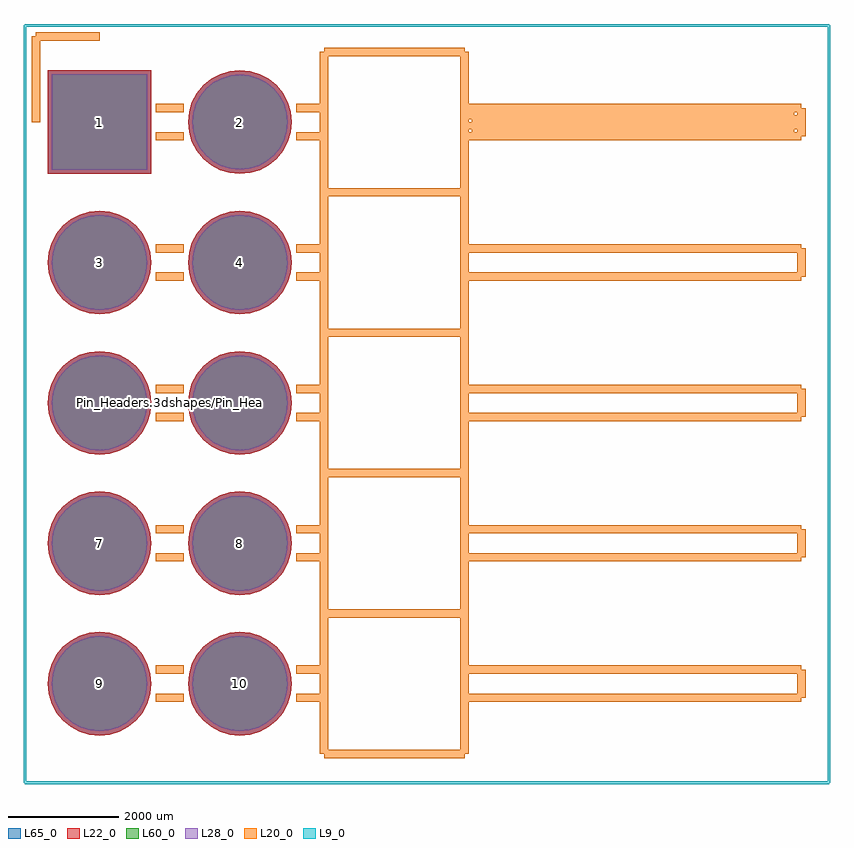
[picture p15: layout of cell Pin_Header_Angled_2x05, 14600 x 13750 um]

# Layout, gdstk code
import gdstk
lib = gdstk.Library(unit=1e-6, precision=1e-09)
def R(c, l, rs):  # rectangles x0, y0, x1, y1
    for r in rs: c.add(gdstk.rectangle(r[:2], r[2:], *l))
def P(c, l, *ps):  # polygons
    for p in ps: c.add(gdstk.Polygon(p, *l))
L9_0 = (9, 0)
L20_0 = (20, 0)
L22_0 = (22, 0)
L28_0 = (28, 0)
L60_0 = (60, 0)
L65_0 = (65, 0)

pin_header_angled_2x05 = lib.new_cell('Pin_Header_Angled_2x05')
R(pin_header_angled_2x05, L22_0, [(-938.6,-938.6,938.6,938.6)])
P(pin_header_angled_2x05, L22_0, [(3478.6,-10160),(3460.565,-9976.888),(3407.153,-9800.813),(3320.417,-9638.542),(3203.69,-9496.31),(3061.458,-9379.583),(2899.187,-9292.847),(2723.112,-9239.435),(2540,-9221.4),(2356.888,-9239.435),(2180.813,-9292.847),(2018.542,-9379.583),(1876.31,-9496.31),(1759.583,-9638.542),(1672.847,-9800.813),(1619.435,-9976.888),(1601.4,-10160),(1619.435,-10343.112),(1672.847,-10519.187),(1759.583,-10681.458),(1876.31,-10823.69),(2018.542,-10940.417),(2180.813,-11027.153),(2356.888,-11080.565),(2540,-11098.6),(2723.112,-11080.565),(2899.187,-11027.153),(3061.458,-10940.417),(3203.69,-10823.69),(3320.417,-10681.458),(3407.153,-10519.187),(3460.565,-10343.112)],
  [(938.6,-10160),(920.565,-9976.888),(867.153,-9800.813),(780.417,-9638.542),(663.69,-9496.31),(521.458,-9379.583),(359.187,-9292.847),(183.112,-9239.435),(0,-9221.4),(-183.112,-9239.435),(-359.187,-9292.847),(-521.458,-9379.583),(-663.69,-9496.31),(-780.417,-9638.542),(-867.153,-9800.813),(-920.565,-9976.888),(-938.6,-10160),(-920.565,-10343.112),(-867.153,-10519.187),(-780.417,-10681.458),(-663.69,-10823.69),(-521.458,-10940.417),(-359.187,-11027.153),(-183.112,-11080.565),(0,-11098.6),(183.112,-11080.565),(359.187,-11027.153),(521.458,-10940.417),(663.69,-10823.69),(780.417,-10681.458),(867.153,-10519.187),(920.565,-10343.112)],
  [(3478.6,-7620),(3460.565,-7436.888),(3407.153,-7260.813),(3320.417,-7098.542),(3203.69,-6956.31),(3061.458,-6839.583),(2899.187,-6752.847),(2723.112,-6699.435),(2540,-6681.4),(2356.888,-6699.435),(2180.813,-6752.847),(2018.542,-6839.583),(1876.31,-6956.31),(1759.583,-7098.542),(1672.847,-7260.813),(1619.435,-7436.888),(1601.4,-7620),(1619.435,-7803.112),(1672.847,-7979.187),(1759.583,-8141.458),(1876.31,-8283.69),(2018.542,-8400.417),(2180.813,-8487.153),(2356.888,-8540.565),(2540,-8558.6),(2723.112,-8540.565),(2899.187,-8487.153),(3061.458,-8400.417),(3203.69,-8283.69),(3320.417,-8141.458),(3407.153,-7979.187),(3460.565,-7803.112)],
  [(938.6,-7620),(920.565,-7436.888),(867.153,-7260.813),(780.417,-7098.542),(663.69,-6956.31),(521.458,-6839.583),(359.187,-6752.847),(183.112,-6699.435),(0,-6681.4),(-183.112,-6699.435),(-359.187,-6752.847),(-521.458,-6839.583),(-663.69,-6956.31),(-780.417,-7098.542),(-867.153,-7260.813),(-920.565,-7436.888),(-938.6,-7620),(-920.565,-7803.112),(-867.153,-7979.187),(-780.417,-8141.458),(-663.69,-8283.69),(-521.458,-8400.417),(-359.187,-8487.153),(-183.112,-8540.565),(0,-8558.6),(183.112,-8540.565),(359.187,-8487.153),(521.458,-8400.417),(663.69,-8283.69),(780.417,-8141.458),(867.153,-7979.187),(920.565,-7803.112)],
  [(3478.6,-5080),(3460.565,-4896.888),(3407.153,-4720.813),(3320.417,-4558.542),(3203.69,-4416.31),(3061.458,-4299.583),(2899.187,-4212.847),(2723.112,-4159.435),(2540,-4141.4),(2356.888,-4159.435),(2180.813,-4212.847),(2018.542,-4299.583),(1876.31,-4416.31),(1759.583,-4558.542),(1672.847,-4720.813),(1619.435,-4896.888),(1601.4,-5080),(1619.435,-5263.112),(1672.847,-5439.187),(1759.583,-5601.458),(1876.31,-5743.69),(2018.542,-5860.417),(2180.813,-5947.153),(2356.888,-6000.565),(2540,-6018.6),(2723.112,-6000.565),(2899.187,-5947.153),(3061.458,-5860.417),(3203.69,-5743.69),(3320.417,-5601.458),(3407.153,-5439.187),(3460.565,-5263.112)],
  [(938.6,-5080),(920.565,-4896.888),(867.153,-4720.813),(780.417,-4558.542),(663.69,-4416.31),(521.458,-4299.583),(359.187,-4212.847),(183.112,-4159.435),(0,-4141.4),(-183.112,-4159.435),(-359.187,-4212.847),(-521.458,-4299.583),(-663.69,-4416.31),(-780.417,-4558.542),(-867.153,-4720.813),(-920.565,-4896.888),(-938.6,-5080),(-920.565,-5263.112),(-867.153,-5439.187),(-780.417,-5601.458),(-663.69,-5743.69),(-521.458,-5860.417),(-359.187,-5947.153),(-183.112,-6000.565),(0,-6018.6),(183.112,-6000.565),(359.187,-5947.153),(521.458,-5860.417),(663.69,-5743.69),(780.417,-5601.458),(867.153,-5439.187),(920.565,-5263.112)],
  [(3478.6,-2540),(3460.565,-2356.888),(3407.153,-2180.813),(3320.417,-2018.542),(3203.69,-1876.31),(3061.458,-1759.583),(2899.187,-1672.847),(2723.112,-1619.435),(2540,-1601.4),(2356.888,-1619.435),(2180.813,-1672.847),(2018.542,-1759.583),(1876.31,-1876.31),(1759.583,-2018.542),(1672.847,-2180.813),(1619.435,-2356.888),(1601.4,-2540),(1619.435,-2723.112),(1672.847,-2899.187),(1759.583,-3061.458),(1876.31,-3203.69),(2018.542,-3320.417),(2180.813,-3407.153),(2356.888,-3460.565),(2540,-3478.6),(2723.112,-3460.565),(2899.187,-3407.153),(3061.458,-3320.417),(3203.69,-3203.69),(3320.417,-3061.458),(3407.153,-2899.187),(3460.565,-2723.112)],
  [(938.6,-2540),(920.565,-2356.888),(867.153,-2180.813),(780.417,-2018.542),(663.69,-1876.31),(521.458,-1759.583),(359.187,-1672.847),(183.112,-1619.435),(0,-1601.4),(-183.112,-1619.435),(-359.187,-1672.847),(-521.458,-1759.583),(-663.69,-1876.31),(-780.417,-2018.542),(-867.153,-2180.813),(-920.565,-2356.888),(-938.6,-2540),(-920.565,-2723.112),(-867.153,-2899.187),(-780.417,-3061.458),(-663.69,-3203.69),(-521.458,-3320.417),(-359.187,-3407.153),(-183.112,-3460.565),(0,-3478.6),(183.112,-3460.565),(359.187,-3407.153),(521.458,-3320.417),(663.69,-3203.69),(780.417,-3061.458),(867.153,-2899.187),(920.565,-2723.112)],
  [(3478.6,0),(3460.565,183.112),(3407.153,359.187),(3320.417,521.458),(3203.69,663.69),(3061.458,780.417),(2899.187,867.153),(2723.112,920.565),(2540,938.6),(2356.888,920.565),(2180.813,867.153),(2018.542,780.417),(1876.31,663.69),(1759.583,521.458),(1672.847,359.187),(1619.435,183.112),(1601.4,0),(1619.435,-183.112),(1672.847,-359.187),(1759.583,-521.458),(1876.31,-663.69),(2018.542,-780.417),(2180.813,-867.153),(2356.888,-920.565),(2540,-938.6),(2723.112,-920.565),(2899.187,-867.153),(3061.458,-780.417),(3203.69,-663.69),(3320.417,-521.458),(3407.153,-359.187),(3460.565,-183.112)])
R(pin_header_angled_2x05, L28_0, [(-863.6,-863.6,863.6,863.6)])
P(pin_header_angled_2x05, L28_0, [(3403.6,-10160),(3387.006,-9991.52),(3337.862,-9829.515),(3258.057,-9680.21),(3150.657,-9549.343),(3019.79,-9441.943),(2870.485,-9362.138),(2708.48,-9312.994),(2540,-9296.4),(2371.52,-9312.994),(2209.515,-9362.138),(2060.21,-9441.943),(1929.343,-9549.343),(1821.943,-9680.21),(1742.138,-9829.515),(1692.994,-9991.52),(1676.4,-10160),(1692.994,-10328.48),(1742.138,-10490.485),(1821.943,-10639.79),(1929.343,-10770.657),(2060.21,-10878.057),(2209.515,-10957.862),(2371.52,-11007.006),(2540,-11023.6),(2708.48,-11007.006),(2870.485,-10957.862),(3019.79,-10878.057),(3150.657,-10770.657),(3258.057,-10639.79),(3337.862,-10490.485),(3387.006,-10328.48)],
  [(863.6,-10160),(847.006,-9991.52),(797.862,-9829.515),(718.057,-9680.21),(610.657,-9549.343),(479.79,-9441.943),(330.485,-9362.138),(168.48,-9312.994),(0,-9296.4),(-168.48,-9312.994),(-330.485,-9362.138),(-479.79,-9441.943),(-610.657,-9549.343),(-718.057,-9680.21),(-797.862,-9829.515),(-847.006,-9991.52),(-863.6,-10160),(-847.006,-10328.48),(-797.862,-10490.485),(-718.057,-10639.79),(-610.657,-10770.657),(-479.79,-10878.057),(-330.485,-10957.862),(-168.48,-11007.006),(0,-11023.6),(168.48,-11007.006),(330.485,-10957.862),(479.79,-10878.057),(610.657,-10770.657),(718.057,-10639.79),(797.862,-10490.485),(847.006,-10328.48)],
  [(3403.6,-7620),(3387.006,-7451.52),(3337.862,-7289.515),(3258.057,-7140.21),(3150.657,-7009.343),(3019.79,-6901.943),(2870.485,-6822.138),(2708.48,-6772.994),(2540,-6756.4),(2371.52,-6772.994),(2209.515,-6822.138),(2060.21,-6901.943),(1929.343,-7009.343),(1821.943,-7140.21),(1742.138,-7289.515),(1692.994,-7451.52),(1676.4,-7620),(1692.994,-7788.48),(1742.138,-7950.485),(1821.943,-8099.79),(1929.343,-8230.657),(2060.21,-8338.057),(2209.515,-8417.862),(2371.52,-8467.006),(2540,-8483.6),(2708.48,-8467.006),(2870.485,-8417.862),(3019.79,-8338.057),(3150.657,-8230.657),(3258.057,-8099.79),(3337.862,-7950.485),(3387.006,-7788.48)],
  [(863.6,-7620),(847.006,-7451.52),(797.862,-7289.515),(718.057,-7140.21),(610.657,-7009.343),(479.79,-6901.943),(330.485,-6822.138),(168.48,-6772.994),(0,-6756.4),(-168.48,-6772.994),(-330.485,-6822.138),(-479.79,-6901.943),(-610.657,-7009.343),(-718.057,-7140.21),(-797.862,-7289.515),(-847.006,-7451.52),(-863.6,-7620),(-847.006,-7788.48),(-797.862,-7950.485),(-718.057,-8099.79),(-610.657,-8230.657),(-479.79,-8338.057),(-330.485,-8417.862),(-168.48,-8467.006),(0,-8483.6),(168.48,-8467.006),(330.485,-8417.862),(479.79,-8338.057),(610.657,-8230.657),(718.057,-8099.79),(797.862,-7950.485),(847.006,-7788.48)],
  [(3403.6,-5080),(3387.006,-4911.52),(3337.862,-4749.515),(3258.057,-4600.21),(3150.657,-4469.343),(3019.79,-4361.943),(2870.485,-4282.138),(2708.48,-4232.994),(2540,-4216.4),(2371.52,-4232.994),(2209.515,-4282.138),(2060.21,-4361.943),(1929.343,-4469.343),(1821.943,-4600.21),(1742.138,-4749.515),(1692.994,-4911.52),(1676.4,-5080),(1692.994,-5248.48),(1742.138,-5410.485),(1821.943,-5559.79),(1929.343,-5690.657),(2060.21,-5798.057),(2209.515,-5877.862),(2371.52,-5927.006),(2540,-5943.6),(2708.48,-5927.006),(2870.485,-5877.862),(3019.79,-5798.057),(3150.657,-5690.657),(3258.057,-5559.79),(3337.862,-5410.485),(3387.006,-5248.48)],
  [(863.6,-5080),(847.006,-4911.52),(797.862,-4749.515),(718.057,-4600.21),(610.657,-4469.343),(479.79,-4361.943),(330.485,-4282.138),(168.48,-4232.994),(0,-4216.4),(-168.48,-4232.994),(-330.485,-4282.138),(-479.79,-4361.943),(-610.657,-4469.343),(-718.057,-4600.21),(-797.862,-4749.515),(-847.006,-4911.52),(-863.6,-5080),(-847.006,-5248.48),(-797.862,-5410.485),(-718.057,-5559.79),(-610.657,-5690.657),(-479.79,-5798.057),(-330.485,-5877.862),(-168.48,-5927.006),(0,-5943.6),(168.48,-5927.006),(330.485,-5877.862),(479.79,-5798.057),(610.657,-5690.657),(718.057,-5559.79),(797.862,-5410.485),(847.006,-5248.48)],
  [(3403.6,-2540),(3387.006,-2371.52),(3337.862,-2209.515),(3258.057,-2060.21),(3150.657,-1929.343),(3019.79,-1821.943),(2870.485,-1742.138),(2708.48,-1692.994),(2540,-1676.4),(2371.52,-1692.994),(2209.515,-1742.138),(2060.21,-1821.943),(1929.343,-1929.343),(1821.943,-2060.21),(1742.138,-2209.515),(1692.994,-2371.52),(1676.4,-2540),(1692.994,-2708.48),(1742.138,-2870.485),(1821.943,-3019.79),(1929.343,-3150.657),(2060.21,-3258.057),(2209.515,-3337.862),(2371.52,-3387.006),(2540,-3403.6),(2708.48,-3387.006),(2870.485,-3337.862),(3019.79,-3258.057),(3150.657,-3150.657),(3258.057,-3019.79),(3337.862,-2870.485),(3387.006,-2708.48)],
  [(863.6,-2540),(847.006,-2371.52),(797.862,-2209.515),(718.057,-2060.21),(610.657,-1929.343),(479.79,-1821.943),(330.485,-1742.138),(168.48,-1692.994),(0,-1676.4),(-168.48,-1692.994),(-330.485,-1742.138),(-479.79,-1821.943),(-610.657,-1929.343),(-718.057,-2060.21),(-797.862,-2209.515),(-847.006,-2371.52),(-863.6,-2540),(-847.006,-2708.48),(-797.862,-2870.485),(-718.057,-3019.79),(-610.657,-3150.657),(-479.79,-3258.057),(-330.485,-3337.862),(-168.48,-3387.006),(0,-3403.6),(168.48,-3387.006),(330.485,-3337.862),(479.79,-3258.057),(610.657,-3150.657),(718.057,-3019.79),(797.862,-2870.485),(847.006,-2708.48)],
  [(3403.6,0),(3387.006,168.48),(3337.862,330.485),(3258.057,479.79),(3150.657,610.657),(3019.79,718.057),(2870.485,797.862),(2708.48,847.006),(2540,863.6),(2371.52,847.006),(2209.515,797.862),(2060.21,718.057),(1929.343,610.657),(1821.943,479.79),(1742.138,330.485),(1692.994,168.48),(1676.4,0),(1692.994,-168.48),(1742.138,-330.485),(1821.943,-479.79),(1929.343,-610.657),(2060.21,-718.057),(2209.515,-797.862),(2371.52,-847.006),(2540,-863.6),(2708.48,-847.006),(2870.485,-797.862),(3019.79,-718.057),(3150.657,-610.657),(3258.057,-479.79),(3337.862,-330.485),(3387.006,-168.48)])
R(pin_header_angled_2x05, L60_0, [(-863.6,-863.6,863.6,863.6)])
P(pin_header_angled_2x05, L60_0, [(3403.6,-10160),(3387.006,-9991.52),(3337.862,-9829.515),(3258.057,-9680.21),(3150.657,-9549.343),(3019.79,-9441.943),(2870.485,-9362.138),(2708.48,-9312.994),(2540,-9296.4),(2371.52,-9312.994),(2209.515,-9362.138),(2060.21,-9441.943),(1929.343,-9549.343),(1821.943,-9680.21),(1742.138,-9829.515),(1692.994,-9991.52),(1676.4,-10160),(1692.994,-10328.48),(1742.138,-10490.485),(1821.943,-10639.79),(1929.343,-10770.657),(2060.21,-10878.057),(2209.515,-10957.862),(2371.52,-11007.006),(2540,-11023.6),(2708.48,-11007.006),(2870.485,-10957.862),(3019.79,-10878.057),(3150.657,-10770.657),(3258.057,-10639.79),(3337.862,-10490.485),(3387.006,-10328.48)],
  [(863.6,-10160),(847.006,-9991.52),(797.862,-9829.515),(718.057,-9680.21),(610.657,-9549.343),(479.79,-9441.943),(330.485,-9362.138),(168.48,-9312.994),(0,-9296.4),(-168.48,-9312.994),(-330.485,-9362.138),(-479.79,-9441.943),(-610.657,-9549.343),(-718.057,-9680.21),(-797.862,-9829.515),(-847.006,-9991.52),(-863.6,-10160),(-847.006,-10328.48),(-797.862,-10490.485),(-718.057,-10639.79),(-610.657,-10770.657),(-479.79,-10878.057),(-330.485,-10957.862),(-168.48,-11007.006),(0,-11023.6),(168.48,-11007.006),(330.485,-10957.862),(479.79,-10878.057),(610.657,-10770.657),(718.057,-10639.79),(797.862,-10490.485),(847.006,-10328.48)],
  [(3403.6,-7620),(3387.006,-7451.52),(3337.862,-7289.515),(3258.057,-7140.21),(3150.657,-7009.343),(3019.79,-6901.943),(2870.485,-6822.138),(2708.48,-6772.994),(2540,-6756.4),(2371.52,-6772.994),(2209.515,-6822.138),(2060.21,-6901.943),(1929.343,-7009.343),(1821.943,-7140.21),(1742.138,-7289.515),(1692.994,-7451.52),(1676.4,-7620),(1692.994,-7788.48),(1742.138,-7950.485),(1821.943,-8099.79),(1929.343,-8230.657),(2060.21,-8338.057),(2209.515,-8417.862),(2371.52,-8467.006),(2540,-8483.6),(2708.48,-8467.006),(2870.485,-8417.862),(3019.79,-8338.057),(3150.657,-8230.657),(3258.057,-8099.79),(3337.862,-7950.485),(3387.006,-7788.48)],
  [(863.6,-7620),(847.006,-7451.52),(797.862,-7289.515),(718.057,-7140.21),(610.657,-7009.343),(479.79,-6901.943),(330.485,-6822.138),(168.48,-6772.994),(0,-6756.4),(-168.48,-6772.994),(-330.485,-6822.138),(-479.79,-6901.943),(-610.657,-7009.343),(-718.057,-7140.21),(-797.862,-7289.515),(-847.006,-7451.52),(-863.6,-7620),(-847.006,-7788.48),(-797.862,-7950.485),(-718.057,-8099.79),(-610.657,-8230.657),(-479.79,-8338.057),(-330.485,-8417.862),(-168.48,-8467.006),(0,-8483.6),(168.48,-8467.006),(330.485,-8417.862),(479.79,-8338.057),(610.657,-8230.657),(718.057,-8099.79),(797.862,-7950.485),(847.006,-7788.48)],
  [(3403.6,-5080),(3387.006,-4911.52),(3337.862,-4749.515),(3258.057,-4600.21),(3150.657,-4469.343),(3019.79,-4361.943),(2870.485,-4282.138),(2708.48,-4232.994),(2540,-4216.4),(2371.52,-4232.994),(2209.515,-4282.138),(2060.21,-4361.943),(1929.343,-4469.343),(1821.943,-4600.21),(1742.138,-4749.515),(1692.994,-4911.52),(1676.4,-5080),(1692.994,-5248.48),(1742.138,-5410.485),(1821.943,-5559.79),(1929.343,-5690.657),(2060.21,-5798.057),(2209.515,-5877.862),(2371.52,-5927.006),(2540,-5943.6),(2708.48,-5927.006),(2870.485,-5877.862),(3019.79,-5798.057),(3150.657,-5690.657),(3258.057,-5559.79),(3337.862,-5410.485),(3387.006,-5248.48)],
  [(863.6,-5080),(847.006,-4911.52),(797.862,-4749.515),(718.057,-4600.21),(610.657,-4469.343),(479.79,-4361.943),(330.485,-4282.138),(168.48,-4232.994),(0,-4216.4),(-168.48,-4232.994),(-330.485,-4282.138),(-479.79,-4361.943),(-610.657,-4469.343),(-718.057,-4600.21),(-797.862,-4749.515),(-847.006,-4911.52),(-863.6,-5080),(-847.006,-5248.48),(-797.862,-5410.485),(-718.057,-5559.79),(-610.657,-5690.657),(-479.79,-5798.057),(-330.485,-5877.862),(-168.48,-5927.006),(0,-5943.6),(168.48,-5927.006),(330.485,-5877.862),(479.79,-5798.057),(610.657,-5690.657),(718.057,-5559.79),(797.862,-5410.485),(847.006,-5248.48)],
  [(3403.6,-2540),(3387.006,-2371.52),(3337.862,-2209.515),(3258.057,-2060.21),(3150.657,-1929.343),(3019.79,-1821.943),(2870.485,-1742.138),(2708.48,-1692.994),(2540,-1676.4),(2371.52,-1692.994),(2209.515,-1742.138),(2060.21,-1821.943),(1929.343,-1929.343),(1821.943,-2060.21),(1742.138,-2209.515),(1692.994,-2371.52),(1676.4,-2540),(1692.994,-2708.48),(1742.138,-2870.485),(1821.943,-3019.79),(1929.343,-3150.657),(2060.21,-3258.057),(2209.515,-3337.862),(2371.52,-3387.006),(2540,-3403.6),(2708.48,-3387.006),(2870.485,-3337.862),(3019.79,-3258.057),(3150.657,-3150.657),(3258.057,-3019.79),(3337.862,-2870.485),(3387.006,-2708.48)],
  [(863.6,-2540),(847.006,-2371.52),(797.862,-2209.515),(718.057,-2060.21),(610.657,-1929.343),(479.79,-1821.943),(330.485,-1742.138),(168.48,-1692.994),(0,-1676.4),(-168.48,-1692.994),(-330.485,-1742.138),(-479.79,-1821.943),(-610.657,-1929.343),(-718.057,-2060.21),(-797.862,-2209.515),(-847.006,-2371.52),(-863.6,-2540),(-847.006,-2708.48),(-797.862,-2870.485),(-718.057,-3019.79),(-610.657,-3150.657),(-479.79,-3258.057),(-330.485,-3337.862),(-168.48,-3387.006),(0,-3403.6),(168.48,-3387.006),(330.485,-3337.862),(479.79,-3258.057),(610.657,-3150.657),(718.057,-3019.79),(797.862,-2870.485),(847.006,-2708.48)],
  [(3403.6,0),(3387.006,168.48),(3337.862,330.485),(3258.057,479.79),(3150.657,610.657),(3019.79,718.057),(2870.485,797.862),(2708.48,847.006),(2540,863.6),(2371.52,847.006),(2209.515,797.862),(2060.21,718.057),(1929.343,610.657),(1821.943,479.79),(1742.138,330.485),(1692.994,168.48),(1676.4,0),(1692.994,-168.48),(1742.138,-330.485),(1821.943,-479.79),(1929.343,-610.657),(2060.21,-718.057),(2209.515,-797.862),(2371.52,-847.006),(2540,-863.6),(2708.48,-847.006),(2870.485,-797.862),(3019.79,-718.057),(3150.657,-610.657),(3258.057,-479.79),(3337.862,-330.485),(3387.006,-168.48)])
R(pin_header_angled_2x05, L65_0, [(-938.6,-938.6,938.6,938.6)])
P(pin_header_angled_2x05, L65_0, [(3478.6,-10160),(3460.565,-9976.888),(3407.153,-9800.813),(3320.417,-9638.542),(3203.69,-9496.31),(3061.458,-9379.583),(2899.187,-9292.847),(2723.112,-9239.435),(2540,-9221.4),(2356.888,-9239.435),(2180.813,-9292.847),(2018.542,-9379.583),(1876.31,-9496.31),(1759.583,-9638.542),(1672.847,-9800.813),(1619.435,-9976.888),(1601.4,-10160),(1619.435,-10343.112),(1672.847,-10519.187),(1759.583,-10681.458),(1876.31,-10823.69),(2018.542,-10940.417),(2180.813,-11027.153),(2356.888,-11080.565),(2540,-11098.6),(2723.112,-11080.565),(2899.187,-11027.153),(3061.458,-10940.417),(3203.69,-10823.69),(3320.417,-10681.458),(3407.153,-10519.187),(3460.565,-10343.112)],
  [(938.6,-10160),(920.565,-9976.888),(867.153,-9800.813),(780.417,-9638.542),(663.69,-9496.31),(521.458,-9379.583),(359.187,-9292.847),(183.112,-9239.435),(0,-9221.4),(-183.112,-9239.435),(-359.187,-9292.847),(-521.458,-9379.583),(-663.69,-9496.31),(-780.417,-9638.542),(-867.153,-9800.813),(-920.565,-9976.888),(-938.6,-10160),(-920.565,-10343.112),(-867.153,-10519.187),(-780.417,-10681.458),(-663.69,-10823.69),(-521.458,-10940.417),(-359.187,-11027.153),(-183.112,-11080.565),(0,-11098.6),(183.112,-11080.565),(359.187,-11027.153),(521.458,-10940.417),(663.69,-10823.69),(780.417,-10681.458),(867.153,-10519.187),(920.565,-10343.112)],
  [(3478.6,-7620),(3460.565,-7436.888),(3407.153,-7260.813),(3320.417,-7098.542),(3203.69,-6956.31),(3061.458,-6839.583),(2899.187,-6752.847),(2723.112,-6699.435),(2540,-6681.4),(2356.888,-6699.435),(2180.813,-6752.847),(2018.542,-6839.583),(1876.31,-6956.31),(1759.583,-7098.542),(1672.847,-7260.813),(1619.435,-7436.888),(1601.4,-7620),(1619.435,-7803.112),(1672.847,-7979.187),(1759.583,-8141.458),(1876.31,-8283.69),(2018.542,-8400.417),(2180.813,-8487.153),(2356.888,-8540.565),(2540,-8558.6),(2723.112,-8540.565),(2899.187,-8487.153),(3061.458,-8400.417),(3203.69,-8283.69),(3320.417,-8141.458),(3407.153,-7979.187),(3460.565,-7803.112)],
  [(938.6,-7620),(920.565,-7436.888),(867.153,-7260.813),(780.417,-7098.542),(663.69,-6956.31),(521.458,-6839.583),(359.187,-6752.847),(183.112,-6699.435),(0,-6681.4),(-183.112,-6699.435),(-359.187,-6752.847),(-521.458,-6839.583),(-663.69,-6956.31),(-780.417,-7098.542),(-867.153,-7260.813),(-920.565,-7436.888),(-938.6,-7620),(-920.565,-7803.112),(-867.153,-7979.187),(-780.417,-8141.458),(-663.69,-8283.69),(-521.458,-8400.417),(-359.187,-8487.153),(-183.112,-8540.565),(0,-8558.6),(183.112,-8540.565),(359.187,-8487.153),(521.458,-8400.417),(663.69,-8283.69),(780.417,-8141.458),(867.153,-7979.187),(920.565,-7803.112)],
  [(3478.6,-5080),(3460.565,-4896.888),(3407.153,-4720.813),(3320.417,-4558.542),(3203.69,-4416.31),(3061.458,-4299.583),(2899.187,-4212.847),(2723.112,-4159.435),(2540,-4141.4),(2356.888,-4159.435),(2180.813,-4212.847),(2018.542,-4299.583),(1876.31,-4416.31),(1759.583,-4558.542),(1672.847,-4720.813),(1619.435,-4896.888),(1601.4,-5080),(1619.435,-5263.112),(1672.847,-5439.187),(1759.583,-5601.458),(1876.31,-5743.69),(2018.542,-5860.417),(2180.813,-5947.153),(2356.888,-6000.565),(2540,-6018.6),(2723.112,-6000.565),(2899.187,-5947.153),(3061.458,-5860.417),(3203.69,-5743.69),(3320.417,-5601.458),(3407.153,-5439.187),(3460.565,-5263.112)],
  [(938.6,-5080),(920.565,-4896.888),(867.153,-4720.813),(780.417,-4558.542),(663.69,-4416.31),(521.458,-4299.583),(359.187,-4212.847),(183.112,-4159.435),(0,-4141.4),(-183.112,-4159.435),(-359.187,-4212.847),(-521.458,-4299.583),(-663.69,-4416.31),(-780.417,-4558.542),(-867.153,-4720.813),(-920.565,-4896.888),(-938.6,-5080),(-920.565,-5263.112),(-867.153,-5439.187),(-780.417,-5601.458),(-663.69,-5743.69),(-521.458,-5860.417),(-359.187,-5947.153),(-183.112,-6000.565),(0,-6018.6),(183.112,-6000.565),(359.187,-5947.153),(521.458,-5860.417),(663.69,-5743.69),(780.417,-5601.458),(867.153,-5439.187),(920.565,-5263.112)],
  [(3478.6,-2540),(3460.565,-2356.888),(3407.153,-2180.813),(3320.417,-2018.542),(3203.69,-1876.31),(3061.458,-1759.583),(2899.187,-1672.847),(2723.112,-1619.435),(2540,-1601.4),(2356.888,-1619.435),(2180.813,-1672.847),(2018.542,-1759.583),(1876.31,-1876.31),(1759.583,-2018.542),(1672.847,-2180.813),(1619.435,-2356.888),(1601.4,-2540),(1619.435,-2723.112),(1672.847,-2899.187),(1759.583,-3061.458),(1876.31,-3203.69),(2018.542,-3320.417),(2180.813,-3407.153),(2356.888,-3460.565),(2540,-3478.6),(2723.112,-3460.565),(2899.187,-3407.153),(3061.458,-3320.417),(3203.69,-3203.69),(3320.417,-3061.458),(3407.153,-2899.187),(3460.565,-2723.112)],
  [(938.6,-2540),(920.565,-2356.888),(867.153,-2180.813),(780.417,-2018.542),(663.69,-1876.31),(521.458,-1759.583),(359.187,-1672.847),(183.112,-1619.435),(0,-1601.4),(-183.112,-1619.435),(-359.187,-1672.847),(-521.458,-1759.583),(-663.69,-1876.31),(-780.417,-2018.542),(-867.153,-2180.813),(-920.565,-2356.888),(-938.6,-2540),(-920.565,-2723.112),(-867.153,-2899.187),(-780.417,-3061.458),(-663.69,-3203.69),(-521.458,-3320.417),(-359.187,-3407.153),(-183.112,-3460.565),(0,-3478.6),(183.112,-3460.565),(359.187,-3407.153),(521.458,-3320.417),(663.69,-3203.69),(780.417,-3061.458),(867.153,-2899.187),(920.565,-2723.112)],
  [(3478.6,0),(3460.565,183.112),(3407.153,359.187),(3320.417,521.458),(3203.69,663.69),(3061.458,780.417),(2899.187,867.153),(2723.112,920.565),(2540,938.6),(2356.888,920.565),(2180.813,867.153),(2018.542,780.417),(1876.31,663.69),(1759.583,521.458),(1672.847,359.187),(1619.435,183.112),(1601.4,0),(1619.435,-183.112),(1672.847,-359.187),(1759.583,-521.458),(1876.31,-663.69),(2018.542,-780.417),(2180.813,-867.153),(2356.888,-920.565),(2540,-938.6),(2723.112,-920.565),(2899.187,-867.153),(3061.458,-780.417),(3203.69,-663.69),(3320.417,-521.458),(3407.153,-359.187),(3460.565,-183.112)])
pin_header_angled_2x05.add(gdstk.FlexPath([(4064,1270),(6604,1270)], 149.998, ends="flush", simple_path=True, layer=20, datatype=0))  # L20_0
pin_header_angled_2x05.add(gdstk.FlexPath([(4064,1270),(4064,-1270)], 149.998, ends="flush", simple_path=True, layer=20, datatype=0))  # L20_0
pin_header_angled_2x05.add(gdstk.FlexPath([(4064,-1270),(6604,-1270)], 149.998, ends="flush", simple_path=True, layer=20, datatype=0))  # L20_0
pin_header_angled_2x05.add(gdstk.FlexPath([(6604,254),(12700,254)], 149.998, ends="flush", simple_path=True, layer=20, datatype=0))  # L20_0
pin_header_angled_2x05.add(gdstk.FlexPath([(12700,254),(12700,-254)], 149.998, ends="flush", simple_path=True, layer=20, datatype=0))  # L20_0
pin_header_angled_2x05.add(gdstk.FlexPath([(12700,-254),(6604,-254)], 149.998, ends="flush", simple_path=True, layer=20, datatype=0))  # L20_0
pin_header_angled_2x05.add(gdstk.FlexPath([(6604,-1270),(6604,1270)], 149.998, ends="flush", simple_path=True, layer=20, datatype=0))  # L20_0
pin_header_angled_2x05.add(gdstk.FlexPath([(6604,-3810),(6604,-1270)], 149.998, ends="flush", simple_path=True, layer=20, datatype=0))  # L20_0
pin_header_angled_2x05.add(gdstk.FlexPath([(12700,-2794),(6604,-2794)], 149.998, ends="flush", simple_path=True, layer=20, datatype=0))  # L20_0
pin_header_angled_2x05.add(gdstk.FlexPath([(12700,-2286),(12700,-2794)], 149.998, ends="flush", simple_path=True, layer=20, datatype=0))  # L20_0
pin_header_angled_2x05.add(gdstk.FlexPath([(6604,-2286),(12700,-2286)], 149.998, ends="flush", simple_path=True, layer=20, datatype=0))  # L20_0
pin_header_angled_2x05.add(gdstk.FlexPath([(4064,-3810),(6604,-3810)], 149.998, ends="flush", simple_path=True, layer=20, datatype=0))  # L20_0
pin_header_angled_2x05.add(gdstk.FlexPath([(4064,-1270),(4064,-3810)], 149.998, ends="flush", simple_path=True, layer=20, datatype=0))  # L20_0
pin_header_angled_2x05.add(gdstk.FlexPath([(4064,-1270),(6604,-1270)], 149.998, ends="flush", simple_path=True, layer=20, datatype=0))  # L20_0
pin_header_angled_2x05.add(gdstk.FlexPath([(4064,-6350),(6604,-6350)], 149.998, ends="flush", simple_path=True, layer=20, datatype=0))  # L20_0
pin_header_angled_2x05.add(gdstk.FlexPath([(4064,-6350),(4064,-8890)], 149.998, ends="flush", simple_path=True, layer=20, datatype=0))  # L20_0
pin_header_angled_2x05.add(gdstk.FlexPath([(4064,-8890),(6604,-8890)], 149.998, ends="flush", simple_path=True, layer=20, datatype=0))  # L20_0
pin_header_angled_2x05.add(gdstk.FlexPath([(6604,-7366),(12700,-7366)], 149.998, ends="flush", simple_path=True, layer=20, datatype=0))  # L20_0
pin_header_angled_2x05.add(gdstk.FlexPath([(12700,-7366),(12700,-7874)], 149.998, ends="flush", simple_path=True, layer=20, datatype=0))  # L20_0
pin_header_angled_2x05.add(gdstk.FlexPath([(12700,-7874),(6604,-7874)], 149.998, ends="flush", simple_path=True, layer=20, datatype=0))  # L20_0
pin_header_angled_2x05.add(gdstk.FlexPath([(6604,-8890),(6604,-6350)], 149.998, ends="flush", simple_path=True, layer=20, datatype=0))  # L20_0
pin_header_angled_2x05.add(gdstk.FlexPath([(6604,-6350),(6604,-3810)], 149.998, ends="flush", simple_path=True, layer=20, datatype=0))  # L20_0
pin_header_angled_2x05.add(gdstk.FlexPath([(12700,-5334),(6604,-5334)], 149.998, ends="flush", simple_path=True, layer=20, datatype=0))  # L20_0
pin_header_angled_2x05.add(gdstk.FlexPath([(12700,-4826),(12700,-5334)], 149.998, ends="flush", simple_path=True, layer=20, datatype=0))  # L20_0
pin_header_angled_2x05.add(gdstk.FlexPath([(6604,-4826),(12700,-4826)], 149.998, ends="flush", simple_path=True, layer=20, datatype=0))  # L20_0
pin_header_angled_2x05.add(gdstk.FlexPath([(4064,-6350),(6604,-6350)], 149.998, ends="flush", simple_path=True, layer=20, datatype=0))  # L20_0
pin_header_angled_2x05.add(gdstk.FlexPath([(4064,-3810),(4064,-6350)], 149.998, ends="flush", simple_path=True, layer=20, datatype=0))  # L20_0
pin_header_angled_2x05.add(gdstk.FlexPath([(4064,-3810),(6604,-3810)], 149.998, ends="flush", simple_path=True, layer=20, datatype=0))  # L20_0
pin_header_angled_2x05.add(gdstk.FlexPath([(4064,-11430),(6604,-11430)], 149.998, ends="flush", simple_path=True, layer=20, datatype=0))  # L20_0
pin_header_angled_2x05.add(gdstk.FlexPath([(6604,-11430),(6604,-8890)], 149.998, ends="flush", simple_path=True, layer=20, datatype=0))  # L20_0
pin_header_angled_2x05.add(gdstk.FlexPath([(12700,-10414),(6604,-10414)], 149.998, ends="flush", simple_path=True, layer=20, datatype=0))  # L20_0
pin_header_angled_2x05.add(gdstk.FlexPath([(12700,-9906),(12700,-10414)], 149.998, ends="flush", simple_path=True, layer=20, datatype=0))  # L20_0
pin_header_angled_2x05.add(gdstk.FlexPath([(6604,-9906),(12700,-9906)], 149.998, ends="flush", simple_path=True, layer=20, datatype=0))  # L20_0
pin_header_angled_2x05.add(gdstk.FlexPath([(4064,-8890),(4064,-11430)], 149.998, ends="flush", simple_path=True, layer=20, datatype=0))  # L20_0
pin_header_angled_2x05.add(gdstk.FlexPath([(4064,-8890),(6604,-8890)], 149.998, ends="flush", simple_path=True, layer=20, datatype=0))  # L20_0
pin_header_angled_2x05.add(gdstk.FlexPath([(6731,0),(12573,0)], 149.998, ends="flush", simple_path=True, layer=20, datatype=0))  # L20_0
pin_header_angled_2x05.add(gdstk.FlexPath([(6731,-127),(6731,0)], 149.998, ends="flush", simple_path=True, layer=20, datatype=0))  # L20_0
pin_header_angled_2x05.add(gdstk.FlexPath([(12573,-127),(6731,-127)], 149.998, ends="flush", simple_path=True, layer=20, datatype=0))  # L20_0
pin_header_angled_2x05.add(gdstk.FlexPath([(12573,127),(12573,-127)], 149.998, ends="flush", simple_path=True, layer=20, datatype=0))  # L20_0
pin_header_angled_2x05.add(gdstk.FlexPath([(6604,127),(12573,127)], 149.998, ends="flush", simple_path=True, layer=20, datatype=0))  # L20_0
pin_header_angled_2x05.add(gdstk.FlexPath([(-1150,1550),(-1150,0)], 149.998, ends="flush", simple_path=True, layer=20, datatype=0))  # L20_0
pin_header_angled_2x05.add(gdstk.FlexPath([(0,1550),(-1150,1550)], 149.998, ends="flush", simple_path=True, layer=20, datatype=0))  # L20_0
pin_header_angled_2x05.add(gdstk.FlexPath([(4064,-4826),(3556,-4826)], 149.998, ends="flush", simple_path=True, layer=20, datatype=0))  # L20_0
pin_header_angled_2x05.add(gdstk.FlexPath([(4064,-5334),(3556,-5334)], 149.998, ends="flush", simple_path=True, layer=20, datatype=0))  # L20_0
pin_header_angled_2x05.add(gdstk.FlexPath([(4064,-7366),(3556,-7366)], 149.998, ends="flush", simple_path=True, layer=20, datatype=0))  # L20_0
pin_header_angled_2x05.add(gdstk.FlexPath([(4064,-7874),(3556,-7874)], 149.998, ends="flush", simple_path=True, layer=20, datatype=0))  # L20_0
pin_header_angled_2x05.add(gdstk.FlexPath([(4064,-2794),(3556,-2794)], 149.998, ends="flush", simple_path=True, layer=20, datatype=0))  # L20_0
pin_header_angled_2x05.add(gdstk.FlexPath([(4064,-2286),(3556,-2286)], 149.998, ends="flush", simple_path=True, layer=20, datatype=0))  # L20_0
pin_header_angled_2x05.add(gdstk.FlexPath([(4064,-254),(3556,-254)], 149.998, ends="flush", simple_path=True, layer=20, datatype=0))  # L20_0
pin_header_angled_2x05.add(gdstk.FlexPath([(4064,254),(3556,254)], 149.998, ends="flush", simple_path=True, layer=20, datatype=0))  # L20_0
pin_header_angled_2x05.add(gdstk.FlexPath([(4064,-9906),(3556,-9906)], 149.998, ends="flush", simple_path=True, layer=20, datatype=0))  # L20_0
pin_header_angled_2x05.add(gdstk.FlexPath([(4064,-10414),(3556,-10414)], 149.998, ends="flush", simple_path=True, layer=20, datatype=0))  # L20_0
pin_header_angled_2x05.add(gdstk.FlexPath([(1524,-2286),(1016,-2286)], 149.998, ends="flush", simple_path=True, layer=20, datatype=0))  # L20_0
pin_header_angled_2x05.add(gdstk.FlexPath([(1524,-2794),(1016,-2794)], 149.998, ends="flush", simple_path=True, layer=20, datatype=0))  # L20_0
pin_header_angled_2x05.add(gdstk.FlexPath([(1524,-4826),(1016,-4826)], 149.998, ends="flush", simple_path=True, layer=20, datatype=0))  # L20_0
pin_header_angled_2x05.add(gdstk.FlexPath([(1524,-5334),(1016,-5334)], 149.998, ends="flush", simple_path=True, layer=20, datatype=0))  # L20_0
pin_header_angled_2x05.add(gdstk.FlexPath([(1524,-254),(1016,-254)], 149.998, ends="flush", simple_path=True, layer=20, datatype=0))  # L20_0
pin_header_angled_2x05.add(gdstk.FlexPath([(1524,254),(1016,254)], 149.998, ends="flush", simple_path=True, layer=20, datatype=0))  # L20_0
pin_header_angled_2x05.add(gdstk.FlexPath([(1524,-7366),(1016,-7366)], 149.998, ends="flush", simple_path=True, layer=20, datatype=0))  # L20_0
pin_header_angled_2x05.add(gdstk.FlexPath([(1524,-7874),(1016,-7874)], 149.998, ends="flush", simple_path=True, layer=20, datatype=0))  # L20_0
pin_header_angled_2x05.add(gdstk.FlexPath([(1524,-9906),(1016,-9906)], 149.998, ends="flush", simple_path=True, layer=20, datatype=0))  # L20_0
pin_header_angled_2x05.add(gdstk.FlexPath([(1524,-10414),(1016,-10414)], 149.998, ends="flush", simple_path=True, layer=20, datatype=0))  # L20_0
pin_header_angled_2x05.add(gdstk.FlexPath([(-1350,-11950),(13200,-11950)], 50, ends="flush", simple_path=True, layer=9, datatype=0))  # L9_0
pin_header_angled_2x05.add(gdstk.FlexPath([(-1350,1750),(13200,1750)], 50, ends="flush", simple_path=True, layer=9, datatype=0))  # L9_0
pin_header_angled_2x05.add(gdstk.FlexPath([(13200,1750),(13200,-11950)], 50, ends="flush", simple_path=True, layer=9, datatype=0))  # L9_0
pin_header_angled_2x05.add(gdstk.FlexPath([(-1350,1750),(-1350,-11950)], 50, ends="flush", simple_path=True, layer=9, datatype=0))  # L9_0
pin_header_angled_2x05.add(gdstk.Label('Pin_Headers.3dshapes/Pin_Header_Angled_2x05.wrl', (1270,-5080), layer=12, texttype=0))
pin_header_angled_2x05.add(gdstk.Label('10', (2540,-10160), layer=28, texttype=0))
pin_header_angled_2x05.add(gdstk.Label('9', (0,-10160), layer=28, texttype=0))
pin_header_angled_2x05.add(gdstk.Label('8', (2540,-7620), layer=28, texttype=0))
pin_header_angled_2x05.add(gdstk.Label('7', (0,-7620), layer=28, texttype=0))
pin_header_angled_2x05.add(gdstk.Label('6', (2540,-5080), layer=28, texttype=0))
pin_header_angled_2x05.add(gdstk.Label('5', (0,-5080), layer=28, texttype=0))
pin_header_angled_2x05.add(gdstk.Label('4', (2540,-2540), layer=28, texttype=0))
pin_header_angled_2x05.add(gdstk.Label('3', (0,-2540), layer=28, texttype=0))
pin_header_angled_2x05.add(gdstk.Label('2', (2540,0), layer=28, texttype=0))
pin_header_angled_2x05.add(gdstk.Label('1', (0,0), layer=28, texttype=0))
pin_header_angled_2x05.add(gdstk.Label('type', (0,3100), layer=9, texttype=0))
pin_header_angled_2x05.add(gdstk.Label('devicename', (0,5100), layer=9, texttype=0))

lib.write_gds('Pin_Header_Angled_2x05.gds')
